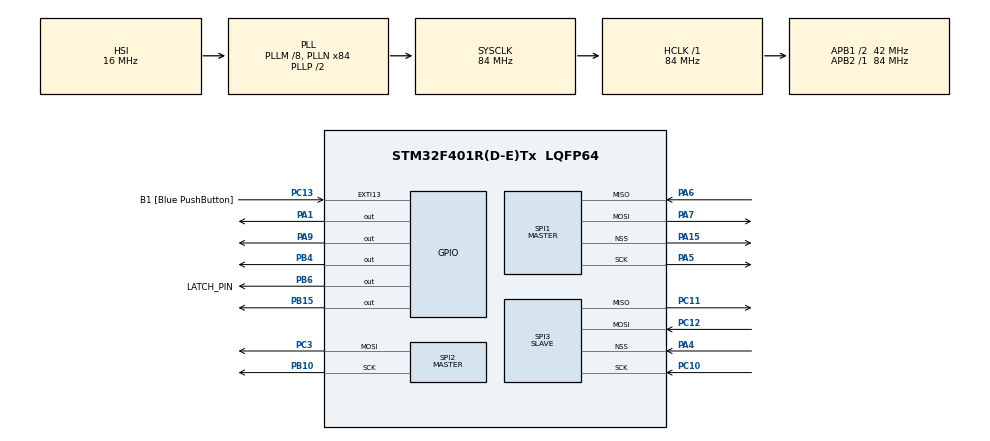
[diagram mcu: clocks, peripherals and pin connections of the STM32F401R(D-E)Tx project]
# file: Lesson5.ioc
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Mcu.Family=STM32F4
PC3.Mode=TX_Only_Simplex_Unidirect_Master
PA6.Mode=Full_Duplex_Master
RCC.CortexFreq_Value=84000000
SPI3.Direction=SPI_DIRECTION_2LINES
SPI3.VirtualType=VM_SLAVE
SPI1.VirtualType=VM_MASTER
SPI2.VirtualType=VM_MASTER
PB10.Mode=TX_Only_Simplex_Unidirect_Master
PC10.Signal=SPI3_SCK
PC12.Signal=SPI3_MOSI
PA14.GPIO_Label=TCK
PB6.GPIO_Label=LATCH_PIN
PB15.Signal=GPIO_Output
RCC.SYSCLKSource=RCC_SYSCLKSOURCE_PLLCLK
ProjectManager.StackSize=0x400
TIM1.Prescaler=839
SPI2.CLKPolarity=SPI_POLARITY_LOW
PH0\ -\ OSC_IN.Signal=RCC_OSC_IN
PA4.Mode=NSS_Signal_Hard_Input
SPI1.Direction=SPI_DIRECTION_2LINES
SPI3.VirtualNSS=VM_NSSHARD
RCC.HCLKFreq_Value=84000000
RCC.APB2TimFreq_Value=84000000
PB6.Signal=GPIO_Output
PC3.Signal=SPI2_MOSI
RCC.AHBFreq_Value=84000000
NVIC.EXTI15_10_IRQn=true\:0\:0\:false\:false\:true\:true\:true
RCC.HSE_VALUE=8000000
PC13-ANTI_TAMP.Signal=GPXTI13
PA15.Mode=NSS_Signal_Hard_Output
PC14-OSC32_IN.Mode=LSE-External-Oscillator
PA14.Mode=Serial_Wire
SPI1.VirtualNSS=VM_NSSHARD
VP_TIM1_VS_ClockSourceINT.Mode=Internal
Mcu.Package=LQFP64
PA6.Signal=SPI1_MISO
SPI2.Mode=SPI_MODE_MASTER
SPI3.Mode=SPI_MODE_SLAVE
PA15.Signal=SPI1_NSS
PC11.Mode=Full_Duplex_Slave
NVIC.SPI3_IRQn=true\:0\:0\:false\:false\:true\:true\:true
RCC.APB1TimFreq_Value=84000000
SPI2.Direction=SPI_DIRECTION_2LINES
PB4.Signal=GPIO_Output
PA5.Mode=Full_Duplex_Master
PB3.GPIO_Label=SWO
PC15-OSC32_OUT.Mode=LSE-External-Oscillator
PA7.Mode=Full_Duplex_Master
PC13-ANTI_TAMP.GPIO_PuPd=GPIO_NOPULL
PC13-ANTI_TAMP.GPIO_Label=B1 [Blue PushButton]
PC11.Signal=SPI3_MISO
PH1\ -\ OSC_OUT.Mode=HSE-External-Clock-Source
PC10.Mode=Full_Duplex_Slave
RCC.APB1CLKDivider=RCC_HCLK_DIV2
PC14-OSC32_IN.Signal=RCC_OSC32_IN
PA13.Signal=SYS_JTMS-SWDIO
PH0\ -\ OSC_IN.Mode=HSE-External-Clock-Source
ProjectManager.TargetToolchain=STM32CubeIDE
PA9.Signal=GPIO_Output
PC15-OSC32_OUT.Signal=RCC_OSC32_OUT
PA1.Signal=GPIO_Output
PB10.Signal=SPI2_SCK
PA5.Signal=SPI1_SCK
PC12.Mode=Full_Duplex_Slave
PH1\ -\ OSC_OUT.Signal=RCC_OSC_OUT
board=NUCLEO-F401RE
RCC.VCOOutputFreq_Value=168000000
RCC.APB2Freq_Value=84000000
SPI1.Mode=SPI_MODE_MASTER
PA13.Mode=Serial_Wire
Mcu.Name=STM32F401R(D-E)Tx
PA13.GPIO_Label=TMS
RCC.48MHZClocksFreq_Value=24000000
PB3.Signal=SYS_JTDO-SWO
PA4.Signal=SPI3_NSS
RCC.SYSCLKFreq_VALUE=84000000
PC13-ANTI_TAMP.GPIO_ModeDefaultEXTI=GPIO_MODE_IT_FALLING
PA14.Signal=SYS_JTCK-SWCLK
ProjectManager.HeapSize=0x200
RCC.HSI_VALUE=16000000
RCC.PLLQ=7
NVIC.PriorityGroup=NVIC_PRIORITYGROUP_0
RCC.PLLM=8
RCC.PLLN=84
PB6.GPIO_Speed=GPIO_SPEED_FREQ_MEDIUM
RCC.APB1Freq_Value=42000000
PA7.Signal=SPI1_MOSI

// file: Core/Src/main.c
/* USER CODE BEGIN Header */
/**
  ******************************************************************************
  * @file           : main.c
  * @brief          : Main program body
  ******************************************************************************
  * @attention
  *
  * <h2><center>&copy; Copyright (c) 2021 STMicroelectronics.
  * All rights reserved.</center></h2>
  *
  * This software component is licensed by ST under BSD 3-Clause license,
  * the "License"; You may not use this file except in compliance with the
  * License. You may obtain a copy of the License at:
  *                        opensource.org/licenses/BSD-3-Clause
  *
  ******************************************************************************
  */
/* USER CODE END Header */
#include "main.h"

/* USER CODE BEGIN Includes */
#include <stdlib.h>

/* USER CODE END Includes */

/* USER CODE BEGIN PD */
#define LATCH GPIO_PIN_6

#define dig1_set() HAL_GPIO_WritePin(GPIOB, GPIO_PIN_4,GPIO_PIN_RESET)
#define dig2_set() HAL_GPIO_WritePin(GPIOB, GPIO_PIN_15,GPIO_PIN_RESET)
#define dig3_set() HAL_GPIO_WritePin(GPIOA, GPIO_PIN_1,GPIO_PIN_RESET)
#define dig4_set() HAL_GPIO_WritePin(GPIOA, GPIO_PIN_9,GPIO_PIN_RESET)

#define dig1_reset() HAL_GPIO_WritePin(GPIOB, GPIO_PIN_4,GPIO_PIN_SET)
#define dig2_reset() HAL_GPIO_WritePin(GPIOB, GPIO_PIN_15,GPIO_PIN_SET)
#define dig3_reset() HAL_GPIO_WritePin(GPIOA, GPIO_PIN_1,GPIO_PIN_SET)
#define dig4_reset() HAL_GPIO_WritePin(GPIOA, GPIO_PIN_9,GPIO_PIN_SET)
#define reset_all() dig1_reset();dig2_reset();dig3_reset();dig4_reset()

#define cs_set() HAL_GPIO_WritePin(GPIOB, LATCH,GPIO_PIN_RESET)
#define cs_reset() HAL_GPIO_WritePin(GPIOB, LATCH,GPIO_PIN_SET)
#define cs_strob() cs_reset();cs_set()
/* USER CODE END PD */

SPI_HandleTypeDef hspi1;
SPI_HandleTypeDef hspi2;
SPI_HandleTypeDef hspi3;

TIM_HandleTypeDef htim1;

/* USER CODE BEGIN PV */
const uint8_t digits[11] = {
		0xFC,
		0x60,
		0xDA,
		0xF2,
		0x66,
		0xB6,
		0xBE,
		0xE0,
		0xFE,
		0xF6,
		0x01
 };
volatile uint32_t seed = 0;
//volatile uint8_t dig = 1;
volatile uint8_t extiFlag = 0;
volatile uint8_t Button_State = 0;
volatile uint16_t Button_Count = 0;
volatile uint8_t Result=0;
volatile uint16_t randNum = 0;
volatile uint16_t digit = 4;
volatile uint16_t valueSPI=9999;
volatile uint8_t isHFlag = 0;
uint8_t rxBuffer = 0;

/* USER CODE END PV */

void SystemClock_Config(void);
static void MX_GPIO_Init(void);
static void MX_SPI2_Init(void);
static void MX_SPI3_Init(void);
static void MX_SPI1_Init(void);
static void MX_TIM1_Init(void);

int main(void)
{

  /* MCU Configuration--------------------------------------------------------*/

  /* Reset of all peripherals, Initializes the Flash interface and the Systick. */
  HAL_Init();

  /* Configure the system clock */
  SystemClock_Config();

  /* Initialize all configured peripherals */
  MX_GPIO_Init();
  MX_SPI2_Init();
  MX_SPI3_Init();
  MX_SPI1_Init();
  MX_TIM1_Init();

  /* Infinite loop */
  /* USER CODE BEGIN WHILE */
  reset_all();
    seed = rand()%(10000);
    HAL_TIM_Base_Start(&htim1);
    srand(seed);
    randNum = rand()%(10000);
   // randNum = 1234;

  while (1)
  {
	 // HAL_SPI_Receive_IT(&hspi3, (uint8_t *)&rxBuffer, 1000);
	  uint8_t randH = (uint8_t)((randNum & 0xFF00)>>8);
	  uint8_t randL = (uint8_t)(randNum & 0xFF);

	  HAL_SPI_Transmit(&hspi1, &randH, 1, 1000);
	  HAL_SPI_Receive(&hspi3, &rxBuffer, 1,1000);
	  valueSPI = ((uint16_t)rxBuffer)<<8;
	  HAL_SPI_Transmit(&hspi1, &randL, 1, 1000);
	  HAL_SPI_Receive(&hspi3, &rxBuffer,1, 1000);
	  valueSPI |= rxBuffer;
	 // randNumSPI = 1234;

	      uint8_t transmitData = 0;
	 	  uint16_t tempRand = valueSPI;
	 	  if (tempRand >= 0 && tempRand<=9) {
	 		  reset_all();
	 		  dig4_set();
	 		  transmitData = ~digits[tempRand];
	 		  HAL_SPI_Transmit(&hspi2, &transmitData, 1, 1000);
	 		  cs_strob();
	 		  HAL_Delay(1);
	 		  continue;
	 	  }
	 	  while(tempRand) {
	 		  uint8_t r = tempRand % 10;
	 		  reset_all();
	 		  switch(digit) {
	 		  case 4:
	 			  dig4_set();
	 			  break;
	 		  case 3:
	 		    	dig3_set();
	 		  		break;
	 		  case 2:
	 		  		dig2_set();
	 		  		break;
	 		  case 1:
	 		  		dig1_set();
	 		  		break;
	 		  }
	 		  if (digit-- == 0) {
	 			  digit =4;
	 			  break;
	 		  }
	 		  tempRand /= 10;
	 		  transmitData = ~digits[r];
	 		  HAL_SPI_Transmit(&hspi2, &transmitData, 1, 1000);
	 		  cs_strob();
	 		  HAL_Delay(2);
	 	  }

    /* USER CODE END WHILE */

  }
}

void SystemClock_Config(void)
{
  RCC_OscInitTypeDef RCC_OscInitStruct = {0};
  RCC_ClkInitTypeDef RCC_ClkInitStruct = {0};

  /** Configure the main internal regulator output voltage
  */
  __HAL_RCC_PWR_CLK_ENABLE();
  __HAL_PWR_VOLTAGESCALING_CONFIG(PWR_REGULATOR_VOLTAGE_SCALE2);
  /** Initializes the RCC Oscillators according to the specified parameters
  * in the RCC_OscInitTypeDef structure.
  */
  RCC_OscInitStruct.OscillatorType = RCC_OSCILLATORTYPE_HSI;
  RCC_OscInitStruct.HSIState = RCC_HSI_ON;
  RCC_OscInitStruct.HSICalibrationValue = RCC_HSICALIBRATION_DEFAULT;
  RCC_OscInitStruct.PLL.PLLState = RCC_PLL_ON;
  RCC_OscInitStruct.PLL.PLLSource = RCC_PLLSOURCE_HSI;
  RCC_OscInitStruct.PLL.PLLM = 8;
  RCC_OscInitStruct.PLL.PLLN = 84;
  RCC_OscInitStruct.PLL.PLLP = RCC_PLLP_DIV2;
  RCC_OscInitStruct.PLL.PLLQ = 7;
  if (HAL_RCC_OscConfig(&RCC_OscInitStruct) != HAL_OK)
  {
    Error_Handler();
  }
  /** Initializes the CPU, AHB and APB buses clocks
  */
  RCC_ClkInitStruct.ClockType = RCC_CLOCKTYPE_HCLK|RCC_CLOCKTYPE_SYSCLK
                              |RCC_CLOCKTYPE_PCLK1|RCC_CLOCKTYPE_PCLK2;
  RCC_ClkInitStruct.SYSCLKSource = RCC_SYSCLKSOURCE_PLLCLK;
  RCC_ClkInitStruct.AHBCLKDivider = RCC_SYSCLK_DIV1;
  RCC_ClkInitStruct.APB1CLKDivider = RCC_HCLK_DIV2;
  RCC_ClkInitStruct.APB2CLKDivider = RCC_HCLK_DIV1;

  if (HAL_RCC_ClockConfig(&RCC_ClkInitStruct, FLASH_LATENCY_2) != HAL_OK)
  {
    Error_Handler();
  }
}

static void MX_SPI1_Init(void)
{

  /* SPI1 parameter configuration*/
  hspi1.Instance = SPI1;
  hspi1.Init.Mode = SPI_MODE_MASTER;
  hspi1.Init.Direction = SPI_DIRECTION_2LINES;
  hspi1.Init.DataSize = SPI_DATASIZE_8BIT;
  hspi1.Init.CLKPolarity = SPI_POLARITY_LOW;
  hspi1.Init.CLKPhase = SPI_PHASE_1EDGE;
  hspi1.Init.NSS = SPI_NSS_HARD_OUTPUT;
  hspi1.Init.BaudRatePrescaler = SPI_BAUDRATEPRESCALER_2;
  hspi1.Init.FirstBit = SPI_FIRSTBIT_LSB;
  hspi1.Init.TIMode = SPI_TIMODE_DISABLE;
  hspi1.Init.CRCCalculation = SPI_CRCCALCULATION_DISABLE;
  hspi1.Init.CRCPolynomial = 10;
  if (HAL_SPI_Init(&hspi1) != HAL_OK)
  {
    Error_Handler();
  }

}

static void MX_SPI2_Init(void)
{

  /* SPI2 parameter configuration*/
  hspi2.Instance = SPI2;
  hspi2.Init.Mode = SPI_MODE_MASTER;
  hspi2.Init.Direction = SPI_DIRECTION_2LINES;
  hspi2.Init.DataSize = SPI_DATASIZE_8BIT;
  hspi2.Init.CLKPolarity = SPI_POLARITY_LOW;
  hspi2.Init.CLKPhase = SPI_PHASE_1EDGE;
  hspi2.Init.NSS = SPI_NSS_SOFT;
  hspi2.Init.BaudRatePrescaler = SPI_BAUDRATEPRESCALER_2;
  hspi2.Init.FirstBit = SPI_FIRSTBIT_LSB;
  hspi2.Init.TIMode = SPI_TIMODE_DISABLE;
  hspi2.Init.CRCCalculation = SPI_CRCCALCULATION_DISABLE;
  hspi2.Init.CRCPolynomial = 10;
  if (HAL_SPI_Init(&hspi2) != HAL_OK)
  {
    Error_Handler();
  }

}

static void MX_SPI3_Init(void)
{

  /* SPI3 parameter configuration*/
  hspi3.Instance = SPI3;
  hspi3.Init.Mode = SPI_MODE_SLAVE;
  hspi3.Init.Direction = SPI_DIRECTION_2LINES;
  hspi3.Init.DataSize = SPI_DATASIZE_8BIT;
  hspi3.Init.CLKPolarity = SPI_POLARITY_LOW;
  hspi3.Init.CLKPhase = SPI_PHASE_1EDGE;
  hspi3.Init.NSS = SPI_NSS_HARD_INPUT;
  hspi3.Init.FirstBit = SPI_FIRSTBIT_LSB;
  hspi3.Init.TIMode = SPI_TIMODE_DISABLE;
  hspi3.Init.CRCCalculation = SPI_CRCCALCULATION_DISABLE;
  hspi3.Init.CRCPolynomial = 10;
  if (HAL_SPI_Init(&hspi3) != HAL_OK)
  {
    Error_Handler();
  }

}

static void MX_TIM1_Init(void)
{

  TIM_ClockConfigTypeDef sClockSourceConfig = {0};
  TIM_MasterConfigTypeDef sMasterConfig = {0};

  htim1.Instance = TIM1;
  htim1.Init.Prescaler = 839;
  htim1.Init.CounterMode = TIM_COUNTERMODE_UP;
  htim1.Init.Period = 65535;
  htim1.Init.ClockDivision = TIM_CLOCKDIVISION_DIV1;
  htim1.Init.RepetitionCounter = 0;
  htim1.Init.AutoReloadPreload = TIM_AUTORELOAD_PRELOAD_DISABLE;
  if (HAL_TIM_Base_Init(&htim1) != HAL_OK)
  {
    Error_Handler();
  }
  sClockSourceConfig.ClockSource = TIM_CLOCKSOURCE_INTERNAL;
  if (HAL_TIM_ConfigClockSource(&htim1, &sClockSourceConfig) != HAL_OK)
  {
    Error_Handler();
  }
  sMasterConfig.MasterOutputTrigger = TIM_TRGO_RESET;
  sMasterConfig.MasterSlaveMode = TIM_MASTERSLAVEMODE_DISABLE;
  if (HAL_TIMEx_MasterConfigSynchronization(&htim1, &sMasterConfig) != HAL_OK)
  {
    Error_Handler();
  }

}

static void MX_GPIO_Init(void)
{
  GPIO_InitTypeDef GPIO_InitStruct = {0};

  /* GPIO Ports Clock Enable */
  __HAL_RCC_GPIOC_CLK_ENABLE();
  __HAL_RCC_GPIOH_CLK_ENABLE();
  __HAL_RCC_GPIOA_CLK_ENABLE();
  __HAL_RCC_GPIOB_CLK_ENABLE();

  /*Configure GPIO pin Output Level */
  HAL_GPIO_WritePin(GPIOA, GPIO_PIN_1|GPIO_PIN_9, GPIO_PIN_RESET);

  /*Configure GPIO pin Output Level */
  HAL_GPIO_WritePin(GPIOB, GPIO_PIN_15|GPIO_PIN_4|LATCH_PIN_Pin, GPIO_PIN_RESET);

  /*Configure GPIO pin : B1_Pin */
  GPIO_InitStruct.Pin = B1_Pin;
  GPIO_InitStruct.Mode = GPIO_MODE_IT_FALLING;
  GPIO_InitStruct.Pull = GPIO_NOPULL;
  HAL_GPIO_Init(B1_GPIO_Port, &GPIO_InitStruct);

  /*Configure GPIO pins : PA1 PA9 */
  GPIO_InitStruct.Pin = GPIO_PIN_1|GPIO_PIN_9;
  GPIO_InitStruct.Mode = GPIO_MODE_OUTPUT_PP;
  GPIO_InitStruct.Pull = GPIO_NOPULL;
  GPIO_InitStruct.Speed = GPIO_SPEED_FREQ_LOW;
  HAL_GPIO_Init(GPIOA, &GPIO_InitStruct);

  /*Configure GPIO pins : PB15 PB4 */
  GPIO_InitStruct.Pin = GPIO_PIN_15|GPIO_PIN_4;
  GPIO_InitStruct.Mode = GPIO_MODE_OUTPUT_PP;
  GPIO_InitStruct.Pull = GPIO_NOPULL;
  GPIO_InitStruct.Speed = GPIO_SPEED_FREQ_LOW;
  HAL_GPIO_Init(GPIOB, &GPIO_InitStruct);

  /*Configure GPIO pin : LATCH_PIN_Pin */
  GPIO_InitStruct.Pin = LATCH_PIN_Pin;
  GPIO_InitStruct.Mode = GPIO_MODE_OUTPUT_PP;
  GPIO_InitStruct.Pull = GPIO_NOPULL;
  GPIO_InitStruct.Speed = GPIO_SPEED_FREQ_MEDIUM;
  HAL_GPIO_Init(LATCH_PIN_GPIO_Port, &GPIO_InitStruct);

  /* EXTI interrupt init*/
  HAL_NVIC_SetPriority(EXTI15_10_IRQn, 0, 0);
  HAL_NVIC_EnableIRQ(EXTI15_10_IRQn);

}

/* USER CODE BEGIN 4 */
void HAL_GPIO_EXTI_Callback(uint16_t GPIO_Pin) {
	if (GPIO_Pin == GPIO_PIN_13) {
		seed = TIM1->CNT;
		srand(seed);
		randNum = rand()%(10000);

	} else __NOP();
}

/* USER CODE END 4 */

void Error_Handler(void)
{
  __disable_irq();
  while (1)
  {
  }
}

/************************ (C) COPYRIGHT STMicroelectronics *****END OF FILE****/
